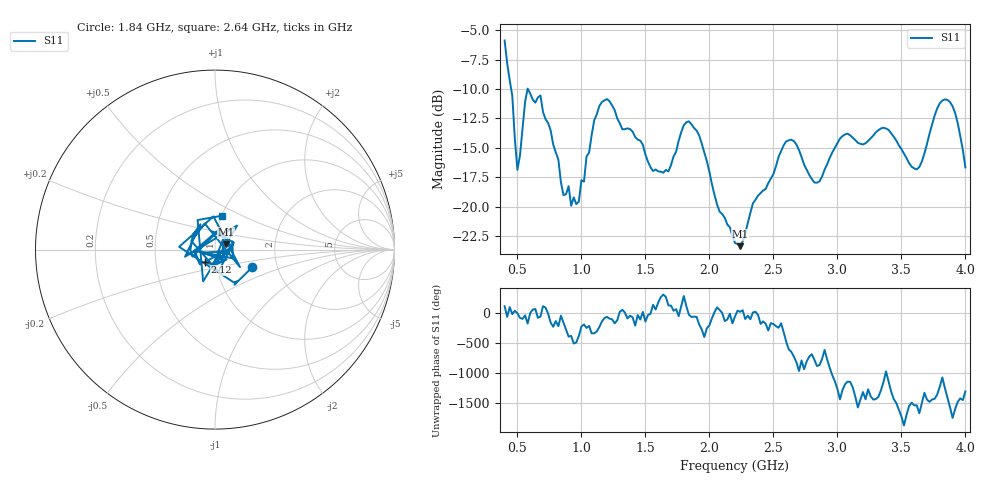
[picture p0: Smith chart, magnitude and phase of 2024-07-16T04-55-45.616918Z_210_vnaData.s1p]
!Created with skrf (http://scikit-rf.org).
# Hz S RI R 50.0
!freq ReS11 ImS11
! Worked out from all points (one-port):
!   181 points, 400 MHz to 4 GHz, reference 50 ohm
!   lowest |S11| = -23.4 dB at 2.24 GHz (marker M1), VSWR 1.15, Z = 56.4 + j3.33 ohm
!   |S11| at or under -10 dB: 451.1 MHz to 579.6 MHz (128.4 MHz wide, 24.9 % of centre); 581.2 MHz to end of sweep
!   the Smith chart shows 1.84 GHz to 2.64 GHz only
!   S11 on the Smith chart (normalised r, x): 1.84 GHz: 1.49, -0.31; 2.12 GHz: 0.88, -0.12; 2.64 GHz: 1.00, +0.39
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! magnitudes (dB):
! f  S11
! 400 MHz  -5.9
! 460 MHz  -10.6
! 500 MHz  -16.9
! 580 MHz  -10.0
! 680 MHz  -10.6
! 860 MHz  -19.0
! 980 MHz  -19.6
! 1.1 GHz  -12.7
! 1.16 GHz  -11.1
! 1.3 GHz  -12.9
! 1.56 GHz  -17.0
! 1.68 GHz  -17.0
! 1.76 GHz  -14.4
! 1.84 GHz  -12.8
! 2.12 GHz  -21.0
! 2.2 GHz  -23.1
! 2.24 GHz  -23.4
! 2.34 GHz  -19.7
! 2.64 GHz  -14.3
! 2.66 GHz  -14.4
! 2.84 GHz  -18.0
! 3.1 GHz  -14.0
! 3.38 GHz  -13.4
! 3.56 GHz  -16.3
! 3.64 GHz  -16.6
! 3.84 GHz  -10.9
! 3.92 GHz  -12.1
! 4 GHz  -16.7
